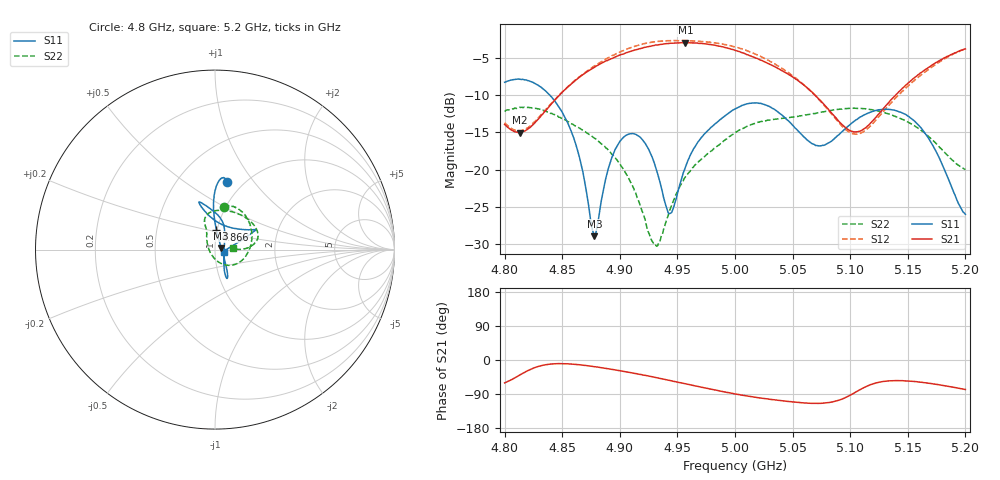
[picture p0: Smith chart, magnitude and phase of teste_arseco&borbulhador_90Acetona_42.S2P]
! Network Analyzer HP8722D
! Hewlett-Packard
! Data name: Linha & Wilkinson
! Saver's name: Rodrigo Anjos
! Comments: Teste da utilização de aquisição
! continua pelo VNA HP8722D
! Time and date: 17/4/2025 11:24
!  Frequency  S11  S21  S12  S22
# HZ  S  MA R 50
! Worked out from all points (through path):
!   401 points, 4.8 GHz to 5.2 GHz, reference 50 ohm
!   highest |S21| = -2.99 dB at 4.957 GHz (marker M1); lowest = -15.1 dB at 4.813 GHz (marker M2)
!   lowest |S11| = -28.9 dB at 4.878 GHz (marker M3), VSWR 1.07, Z = 53.5 + j1.05 ohm
!   |S11| at or under -10 dB: 4.839 GHz to end of sweep
!   |S22| runs from -30.3 to -11.6 dB; largest |S21 - S12| = 1.4
!   S11 on the Smith chart (normalised r, x): 4.8 GHz: 0.84, +0.75; 4.866 GHz: 0.99, +0.22; 5.2 GHz: 1.10, -0.03
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4.8e9  0.3845 79.6  0.2006 -60.3  0.2059 74.7  0.2447 78.0
4.813e9  0.403 83.5  0.1764 -39.9  0.1819 93.4  0.2618 67.3
4.845e9  0.2776 91.5  0.3001 -9.8  0.3021 123.0  0.2299 28.0
4.857e9  0.1876 91.5  0.3702 -10.4  0.3714 124.1  0.205 10.6
4.866e9  0.1119 85.8  0.4218 -13.0  0.4246 123.3  0.1871 -3.1
4.867e9  0.1033 84.7  0.4274 -13.5  0.4303 123.2  0.1852 -4.7
4.878e9  0.0357 16.0  0.484 -17.8  0.494 121.0  0.1624 -21.4
4.891e9  0.1073 -55.6  0.5463 -23.8  0.5663 116.7  0.1325 -39.8
4.904e9  0.1664 -65.1  0.5993 -30.4  0.6301 111.4  0.09837 -58.4
4.92e9  0.1574 -68.2  0.652 -39.7  0.6954 102.6  0.0513 -92.4
4.928e9  0.1215 -64.8  0.6755 -44.4  0.7147 97.7  0.03314 -131.3
4.934e9  0.08708 -55.6  0.687 -48.2  0.724 94.0  0.03288 -175.5
4.944e9  0.05094 1.0  0.7026 -54.5  0.7305 87.5  0.05495 141.0
4.957e9  0.1045 58.6  0.7088 -62.8  0.7318 79.2  0.0894 121.0
4.972e9  0.1677 77.1  0.6989 -72.2  0.7213 69.6  0.12 113.8
5e9  0.2546 102.8  0.6304 -89.6  0.6649 51.4  0.1765 109.4
5.029e9  0.2663 108.8  0.5133 -103.1  0.5396 35.5  0.2142 93.0
5.067e9  0.1489 80.6  0.33 -114.3  0.3278 26.5  0.2356 59.1
5.104e9  0.2121 31.5  0.1789 -86.0  0.1729 58.1  0.2576 26.4
5.134e9  0.2528 25.7  0.2849 -55.0  0.2716 91.1  0.2352 11.2
5.164e9  0.1794 21.2  0.4603 -59.6  0.4451 88.0  0.1778 2.6
5.2e9  0.05012 -16.9  0.6429 -77.9  0.6463 71.2  0.1 4.5
